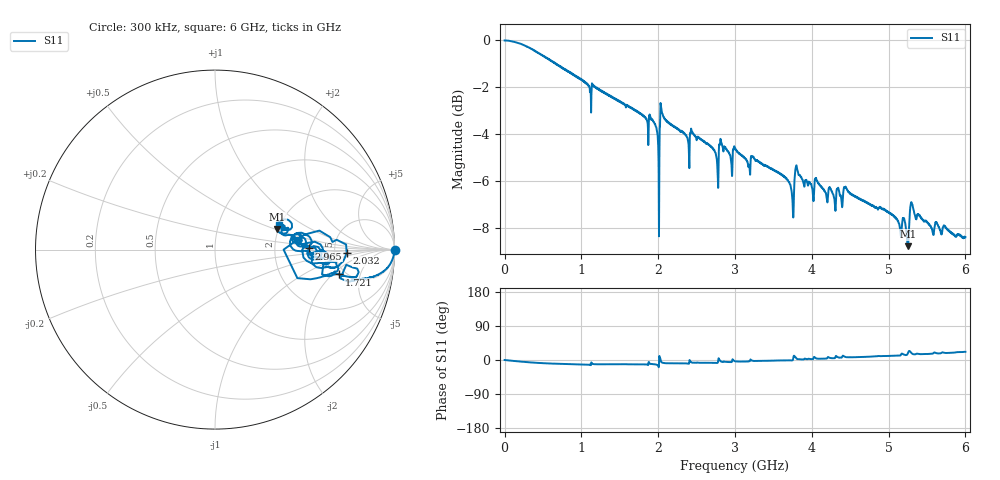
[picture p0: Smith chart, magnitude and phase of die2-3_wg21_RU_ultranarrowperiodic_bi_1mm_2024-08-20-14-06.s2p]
!Keysight Technologies,P9374A,MY57304198,A.17.20.09
!Date: Tuesday, August 20, 2024 14:06:43
!Correction: S11(C  1-Port  )
!S21(C  1-Port  )
!S12(Off)
!S22(Off)
!S2P File: Measurements: S11, S21, S12, S22:
# Hz S  dB  R 50
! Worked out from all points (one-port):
!   6000 points, 300 kHz to 6 GHz, reference 50 ohm
!   lowest |S11| = -8.8 dB at 5.251 GHz (marker M1), VSWR 2.15, Z = 98.5 + j25.7 ohm
!   |S11| at or under -10 dB: nowhere
!   S11 on the Smith chart (normalised r, x): 300 kHz: open; 1.721 GHz: 4.41, -2.44; 2.032 GHz: 6.47, -0.51; 2.965 GHz: 3.20, +0.05; 6 GHz: 1.96, +0.64
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300000  0.00 -0.0  -200.00 45.0  -200.00 45.0  -200.00 45.0
4.223492e8  -0.49 -7.4  -200.00 45.0  -200.00 45.0  -200.00 45.0
1.000417e9  -1.69 -11.5  -200.00 45.0  -200.00 45.0  -200.00 45.0
1.720501e9  -3.02 -11.3  -200.00 45.0  -200.00 45.0  -200.00 45.0
1.909523e9  -3.35 -10.3  -200.00 45.0  -200.00 45.0  -200.00 45.0
1.978531e9  -3.76 -12.3  -200.00 45.0  -200.00 45.0  -200.00 45.0
2.000533e9  -4.52 -15.4  -200.00 45.0  -200.00 45.0  -200.00 45.0
2.031537e9  -2.69 -1.4  -200.00 45.0  -200.00 45.0  -200.00 45.0
2.05554e9  -3.12 -7.2  -200.00 45.0  -200.00 45.0  -200.00 45.0
2.163552e9  -3.59 -8.8  -200.00 45.0  -200.00 45.0  -200.00 45.0
2.758622e9  -4.98 -7.8  -200.00 45.0  -200.00 45.0  -200.00 45.0
2.819629e9  -4.34 -4.2  -200.00 45.0  -200.00 45.0  -200.00 45.0
2.964646e9  -5.61 0.7  -200.00 45.0  -200.00 45.0  -200.00 45.0
3.00065e9  -4.58 -3.5  -200.00 45.0  -200.00 45.0  -200.00 45.0
3.633724e9  -5.80 -1.0  -200.00 45.0  -200.00 45.0  -200.00 45.0
3.742737e9  -6.58 -1.0  -200.00 45.0  -200.00 45.0  -200.00 45.0
3.810745e9  -5.50 2.6  -200.00 45.0  -200.00 45.0  -200.00 45.0
4.000767e9  -6.25 2.1  -200.00 45.0  -200.00 45.0  -200.00 45.0
5.000883e9  -7.34 10.7  -200.00 45.0  -200.00 45.0  -200.00 45.0
5.250913e9  -8.77 18.1  -200.00 45.0  -200.00 45.0  -200.00 45.0
5.306919e9  -6.98 16.7  -200.00 45.0  -200.00 45.0  -200.00 45.0
6e9  -8.39 21.6  -200.00 45.0  -200.00 45.0  -200.00 45.0
